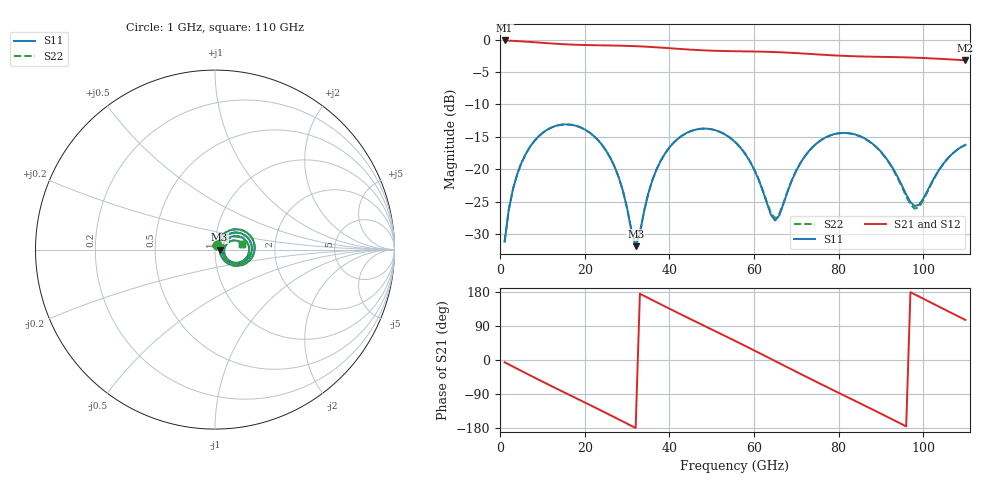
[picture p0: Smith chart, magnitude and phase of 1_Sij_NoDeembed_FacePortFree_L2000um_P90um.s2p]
! Touchstone file exported from HFSS 2024.2.0
!  File:  C:/Users/vaintrug/Documents/Ansoft_Workspace/Comparaison_Calculs_HFSS/1_VarPort.aedt
!  Generated:  03:22:18 PM Jan 21, 2025
!  Design:  1_NoDeembed_FacePortFree
!  Project:  1_VarPort
!  Setup:  Setup1
!  Solution:  Sweep
! Variables:
!  $Lenght = 2000um
!  $PortSize = 90um
!  Gap = 30um
!  Th = 2um
!  X_centralStrip = 20um
!  X_masse = 200um
!  Y_Sub = 2mm
!  Z_Box = 400um
!  Z_Sub = 200um
# GHz S MA R 50.000000
! Terminal data exported
! Port[1] = 1
! Port[2] = 2
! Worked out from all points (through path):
!   110 points, 1 GHz to 110 GHz, reference 50 ohm
!   highest |S21| = -0.13 dB at 1 GHz (marker M1); lowest = -3.2 dB at 110 GHz (marker M2)
!   group delay of S21, straight-line fit = 15.5 ps
!   lowest |S11| = -31.9 dB at 32 GHz (marker M3), VSWR 1.05, Z = 52.6 - j0.0131 ohm
!   |S11| at or under -10 dB: start of sweep to end of sweep
!   |S22| runs from -31.9 to -13.1 dB; largest |S21 - S12| = 2e-15
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1  0.02751 61.1  0.9854 -5.9  0.9854 -5.9  0.02751 61.0
! Gamma 5.57005527914217 49.6319145553582 5.68116451099133 49.8911317230719
! Port Impedance 50 0 50 0
3  0.07067 65.7  0.9783 -17.4  0.9783 -17.4  0.07066 65.6
7  0.1485 48.7  0.9601 -40.4  0.9601 -40.4  0.1485 48.6
13  0.2152 17.9  0.9299 -73.9  0.9299 -73.9  0.2151 17.8
20  0.2022 -17.3  0.9085 -112.2  0.9085 -112.2  0.2021 -17.4
27  0.1048 -47.2  0.8998 -151.1  0.8998 -151.1  0.1047 -47.3
32  0.02542 -0.3  0.89 -179.5  0.89 -179.5  0.02554 -0.2
35  0.065 53.2  0.8801 163.5  0.8801 163.5  0.06514 52.9
38  0.1172 48.0  0.8677 146.6  0.8677 146.6  0.1173 47.7
43  0.1816 27.3  0.8453 118.8  0.8453 118.8  0.1816 27.0
47  0.2043 9.0  0.8302 96.9  0.8302 96.9  0.2043 8.7
51  0.1991 -9.1  0.8199 75.1  0.8199 75.1  0.1992 -9.4
56  0.1563 -30.0  0.8131 47.7  0.8131 47.7  0.1565 -30.2
61  0.08429 -41.4  0.8082 19.8  0.8082 19.8  0.08494 -41.3
65  0.04006 -0.5  0.8013 -2.8  0.8013 -2.8  0.04147 -1.4
70  0.09739 40.5  0.787 -31.1  0.787 -31.1  0.09768 38.9
74  0.1497 29.8  0.7725 -53.4  0.7725 -53.4  0.1496 28.4
83  0.1884 -6.6  0.7457 -103.0  0.7457 -103.0  0.1877 -8.0
92  0.1123 -36.4  0.7342 -152.7  0.7342 -152.7  0.111 -38.3
98  0.05182 -7.6  0.7257 173.4  0.7257 173.4  0.0495 -8.3
105  0.1126 26.7  0.7077 133.7  0.7077 133.7  0.112 26.8
110  0.1541 12.3  0.6928 105.8  0.6928 105.8  0.1539 12.0
